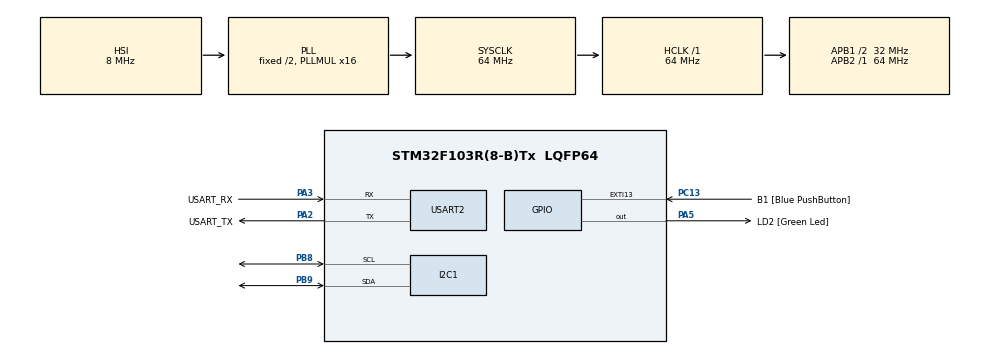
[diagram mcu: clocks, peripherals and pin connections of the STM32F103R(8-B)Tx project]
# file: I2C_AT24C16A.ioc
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I2C1.I2C_Mode=I2C_Fast
Mcu.Family=STM32F1
Mcu.Name=STM32F103R(8-B)Tx
Mcu.Package=LQFP64
NVIC.EXTI15_10_IRQn=true\:0\:0\:false\:false\:true\:true\:true\:true
NVIC.PriorityGroup=NVIC_PRIORITYGROUP_4
PA13.GPIO_Label=TMS
PA13.Mode=Serial_Wire
PA13.Signal=SYS_JTMS-SWDIO
PA14.GPIO_Label=TCK
PA14.Mode=Serial_Wire
PA14.Signal=SYS_JTCK-SWCLK
PA2.GPIO_Label=USART_TX
PA2.GPIO_Mode=GPIO_MODE_AF_PP
PA2.GPIO_PuPd=GPIO_NOPULL
PA2.GPIO_Speed=GPIO_SPEED_FREQ_LOW
PA2.Mode=Asynchronous
PA2.Signal=USART2_TX
PA3.GPIO_Label=USART_RX
PA3.GPIO_Mode=GPIO_MODE_AF_PP
PA3.GPIO_PuPd=GPIO_NOPULL
PA3.GPIO_Speed=GPIO_SPEED_FREQ_LOW
PA3.Mode=Asynchronous
PA3.Signal=USART2_RX
PA5.GPIO_Label=LD2 [Green Led]
PA5.GPIO_ModeDefaultOutputPP=GPIO_MODE_OUTPUT_PP
PA5.GPIO_PuPd=GPIO_NOPULL
PA5.GPIO_Speed=GPIO_SPEED_FREQ_LOW
PA5.Signal=GPIO_Output
PB3.GPIO_Label=SWO
PB3.Signal=SYS_JTDO-TRACESWO
PB8.Mode=I2C
PB8.Signal=I2C1_SCL
PB9.Mode=I2C
PB9.Signal=I2C1_SDA
PC13-TAMPER-RTC.GPIO_Label=B1 [Blue PushButton]
PC13-TAMPER-RTC.GPIO_PuPd=GPIO_NOPULL
PC13-TAMPER-RTC.Signal=GPXTI13
PC14-OSC32_IN.Mode=LSE-External-Oscillator
PC14-OSC32_IN.Signal=RCC_OSC32_IN
PC15-OSC32_OUT.Mode=LSE-External-Oscillator
PC15-OSC32_OUT.Signal=RCC_OSC32_OUT
PD0-OSC_IN.Mode=HSE-External-Clock-Source
PD0-OSC_IN.Signal=RCC_OSC_IN
PD1-OSC_OUT.Mode=HSE-External-Clock-Source
PD1-OSC_OUT.Signal=RCC_OSC_OUT
ProjectManager.HeapSize=0x200
ProjectManager.StackSize=0x400
ProjectManager.TargetToolchain=STM32CubeIDE
RCC.AHBFreq_Value=64000000
RCC.APB1CLKDivider=RCC_HCLK_DIV2
RCC.APB1Freq_Value=32000000
RCC.APB1TimFreq_Value=64000000
RCC.APB2Freq_Value=64000000
RCC.APB2TimFreq_Value=64000000
RCC.HCLKFreq_Value=64000000
RCC.PLLMUL=RCC_PLL_MUL16
RCC.RTCClockSelection=RCC_RTCCLKSOURCE_LSE
RCC.SYSCLKFreq_VALUE=64000000
RCC.SYSCLKSource=RCC_SYSCLKSOURCE_PLLCLK
RCC.USBFreq_Value=64000000
USART2.VirtualMode=VM_ASYNC
board=NUCLEO-F103RB

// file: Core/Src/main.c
/* USER CODE BEGIN Header */
/**
  ******************************************************************************
  * @file           : main.c
  * @brief          : Main program body
  ******************************************************************************
  * @attention
  *
  * Copyright (c) 2024 STMicroelectronics.
  * All rights reserved.
  *
  * This software is licensed under terms that can be found in the LICENSE file
  * in the root directory of this software component.
  * If no LICENSE file comes with this software, it is provided AS-IS.
  *
  ******************************************************************************
  */
/* USER CODE END Header */
#include "main.h"

/* USER CODE BEGIN Includes */

#include <stdio.h>
#include <string.h>

/* USER CODE END Includes */

/* USER CODE BEGIN PD */

#define EEPROM_ID         0x50<<1
#define EEPROM_PAGE_SIZE  16

/* USER CODE END PD */

I2C_HandleTypeDef hi2c1;

UART_HandleTypeDef huart2;

void SystemClock_Config(void);
static void MX_GPIO_Init(void);
static void MX_USART2_UART_Init(void);
static void MX_I2C1_Init(void);
/* USER CODE BEGIN PFP */

int __io_putchar(int ch)
{
	if(ch == '\n') HAL_UART_Transmit(&huart2, (uint8_t*)"\r", 1, 0xFFFF);
	HAL_UART_Transmit(&huart2, (uint8_t*)&ch, 1, 0xFFFF);
	return ch;
}

/* USER CODE END PFP */

int main(void)
{

  /* USER CODE BEGIN 1 */

	uint8_t i, eeprom[32];

  /* USER CODE END 1 */

  /* MCU Configuration--------------------------------------------------------*/

  /* Reset of all peripherals, Initializes the Flash interface and the Systick. */
  HAL_Init();

  /* Configure the system clock */
  SystemClock_Config();

  /* Initialize all configured peripherals */
  MX_GPIO_Init();
  MX_USART2_UART_Init();
  MX_I2C1_Init();
  /* USER CODE BEGIN 2 */

  printf("\nNUCLEO_F103RB EEPROM P/G[%s]\n", __TIMESTAMP__); // last compile time
  printf("SYSCLK Frequency = %d\n", (int) HAL_RCC_GetSysClockFreq());
  printf("HCLK   Frequency = %d\n", (int) HAL_RCC_GetHCLKFreq());
  printf("PCLK   Frequency = %d\n", (int) HAL_RCC_GetPCLK1Freq());

//  if(AT24C_Read(&hi2c1, 0, eeprom, sizeof(eeprom)) != HAL_OK) {
//	  printf("AT24C_Read error\n");
//	  Error_Handler();
//  }
//  {
//	  HAL_StatusTypeDef
//	  AT24C_Read (I2C_HandleTypeDef * hi2c, int address, void *data, size_t length)
//	  {
//	  	HAL_StatusTypeDef error;
//
//	  	error =HAL_I2C_Mem_Read
//	  			(hi2c, EEPROM_ID, address, I2C_MEMADD_SIZE_8BIT, (uint8_t *) data,
//	  					length, 1000);
//
//	  	return error;
//	  }
//  }

  if(HAL_OK != HAL_I2C_Mem_Read(&hi2c1,
		  EEPROM_ID,
		  0,
		  I2C_MEMADD_SIZE_8BIT,
		  eeprom,
		  sizeof(eeprom),
		  1000)) {
	  printf("AT24C Read Error\n");
	  Error_Handler();
  }

  for(i = 0; i < sizeof(eeprom); i++)
	  printf("%02X ", eeprom[i]);
  printf("\n");

  uint8_t val = eeprom[0] + 1;

  memset(eeprom, val, sizeof(eeprom));

	size_t start_address = 0;
	size_t start_i = 0;

	for (int i = 0; i < sizeof(eeprom); i++)
	{
		if ((i + 1) % EEPROM_PAGE_SIZE == 0)
		{
			if(HAL_OK != HAL_I2C_Mem_Write(&hi2c1,
					EEPROM_ID, start_address,
					I2C_MEMADD_SIZE_8BIT,
					((uint8_t *) eeprom) + start_i,
					(i + 1) - start_i,
					1000)) {
				printf("AT24C Write Error1\n");
				Error_Handler();
			}

			start_address = i + 1;
			start_i = i + 1;
			HAL_Delay (10);
		}
	}

  	if (start_i != sizeof(eeprom))
  	{
  		if(HAL_OK != HAL_I2C_Mem_Write(&hi2c1,
  				EEPROM_ID,
				start_address,
				I2C_MEMADD_SIZE_8BIT,
				((uint8_t *) eeprom) + start_i,
				sizeof(eeprom) - start_i,
				1000)) {
  			printf("AT24C Write Error2\n");
  			Error_Handler();
  		}
  		HAL_Delay (10);
  	}

  /* USER CODE END 2 */

  /* Infinite loop */
  while (1)
  {

  }
}

void SystemClock_Config(void)
{
  RCC_OscInitTypeDef RCC_OscInitStruct = {0};
  RCC_ClkInitTypeDef RCC_ClkInitStruct = {0};

  /** Initializes the RCC Oscillators according to the specified parameters
  * in the RCC_OscInitTypeDef structure.
  */
  RCC_OscInitStruct.OscillatorType = RCC_OSCILLATORTYPE_HSI;
  RCC_OscInitStruct.HSIState = RCC_HSI_ON;
  RCC_OscInitStruct.HSICalibrationValue = RCC_HSICALIBRATION_DEFAULT;
  RCC_OscInitStruct.PLL.PLLState = RCC_PLL_ON;
  RCC_OscInitStruct.PLL.PLLSource = RCC_PLLSOURCE_HSI_DIV2;
  RCC_OscInitStruct.PLL.PLLMUL = RCC_PLL_MUL16;
  if (HAL_RCC_OscConfig(&RCC_OscInitStruct) != HAL_OK)
  {
    Error_Handler();
  }

  /** Initializes the CPU, AHB and APB buses clocks
  */
  RCC_ClkInitStruct.ClockType = RCC_CLOCKTYPE_HCLK|RCC_CLOCKTYPE_SYSCLK
                              |RCC_CLOCKTYPE_PCLK1|RCC_CLOCKTYPE_PCLK2;
  RCC_ClkInitStruct.SYSCLKSource = RCC_SYSCLKSOURCE_PLLCLK;
  RCC_ClkInitStruct.AHBCLKDivider = RCC_SYSCLK_DIV1;
  RCC_ClkInitStruct.APB1CLKDivider = RCC_HCLK_DIV2;
  RCC_ClkInitStruct.APB2CLKDivider = RCC_HCLK_DIV1;

  if (HAL_RCC_ClockConfig(&RCC_ClkInitStruct, FLASH_LATENCY_2) != HAL_OK)
  {
    Error_Handler();
  }
}

static void MX_I2C1_Init(void)
{

  hi2c1.Instance = I2C1;
  hi2c1.Init.ClockSpeed = 400000;
  hi2c1.Init.DutyCycle = I2C_DUTYCYCLE_2;
  hi2c1.Init.OwnAddress1 = 0;
  hi2c1.Init.AddressingMode = I2C_ADDRESSINGMODE_7BIT;
  hi2c1.Init.DualAddressMode = I2C_DUALADDRESS_DISABLE;
  hi2c1.Init.OwnAddress2 = 0;
  hi2c1.Init.GeneralCallMode = I2C_GENERALCALL_DISABLE;
  hi2c1.Init.NoStretchMode = I2C_NOSTRETCH_DISABLE;
  if (HAL_I2C_Init(&hi2c1) != HAL_OK)
  {
    Error_Handler();
  }

}

static void MX_USART2_UART_Init(void)
{

  huart2.Instance = USART2;
  huart2.Init.BaudRate = 115200;
  huart2.Init.WordLength = UART_WORDLENGTH_8B;
  huart2.Init.StopBits = UART_STOPBITS_1;
  huart2.Init.Parity = UART_PARITY_NONE;
  huart2.Init.Mode = UART_MODE_TX_RX;
  huart2.Init.HwFlowCtl = UART_HWCONTROL_NONE;
  huart2.Init.OverSampling = UART_OVERSAMPLING_16;
  if (HAL_UART_Init(&huart2) != HAL_OK)
  {
    Error_Handler();
  }

}

static void MX_GPIO_Init(void)
{
  GPIO_InitTypeDef GPIO_InitStruct = {0};

  /* GPIO Ports Clock Enable */
  __HAL_RCC_GPIOC_CLK_ENABLE();
  __HAL_RCC_GPIOD_CLK_ENABLE();
  __HAL_RCC_GPIOA_CLK_ENABLE();
  __HAL_RCC_GPIOB_CLK_ENABLE();

  /*Configure GPIO pin Output Level */
  HAL_GPIO_WritePin(LD2_GPIO_Port, LD2_Pin, GPIO_PIN_RESET);

  /*Configure GPIO pin : B1_Pin */
  GPIO_InitStruct.Pin = B1_Pin;
  GPIO_InitStruct.Mode = GPIO_MODE_IT_RISING;
  GPIO_InitStruct.Pull = GPIO_NOPULL;
  HAL_GPIO_Init(B1_GPIO_Port, &GPIO_InitStruct);

  /*Configure GPIO pin : LD2_Pin */
  GPIO_InitStruct.Pin = LD2_Pin;
  GPIO_InitStruct.Mode = GPIO_MODE_OUTPUT_PP;
  GPIO_InitStruct.Pull = GPIO_NOPULL;
  GPIO_InitStruct.Speed = GPIO_SPEED_FREQ_LOW;
  HAL_GPIO_Init(LD2_GPIO_Port, &GPIO_InitStruct);

  /* EXTI interrupt init*/
  HAL_NVIC_SetPriority(EXTI15_10_IRQn, 0, 0);
  HAL_NVIC_EnableIRQ(EXTI15_10_IRQn);

}

void Error_Handler(void)
{
  __disable_irq();
  while (1)
  {
  }
}
